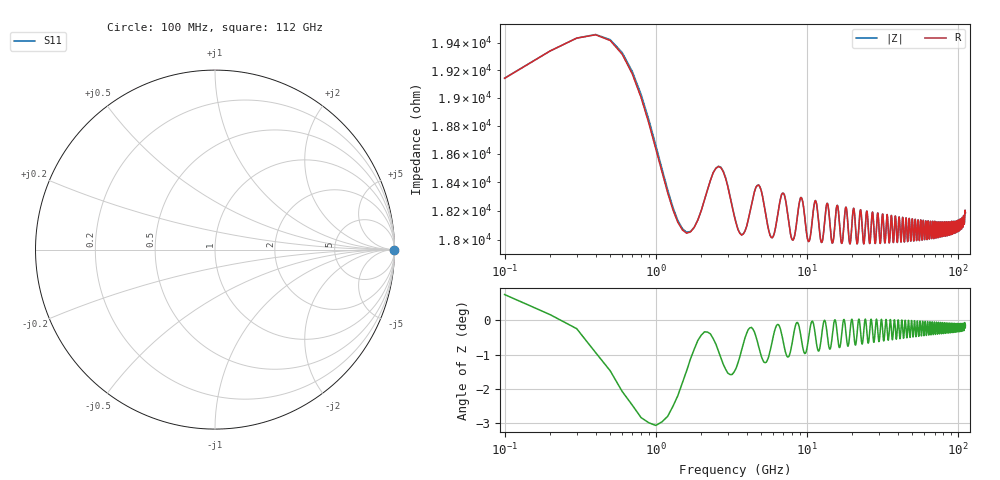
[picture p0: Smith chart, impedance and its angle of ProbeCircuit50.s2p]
! File created by SignalIntegrity v1.3.3: Signal and Power Integrity Tools
! https://github.com/TeledyneLeCroy/SignalIntegrity
# MHz S MA R 50.0
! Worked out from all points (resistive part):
!   1120 points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, 100 MHz to 112 GHz, reference 50 ohm
!   read as one part in series: R = 19.3 kohm at 600 MHz
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100  1 0.0  0.005197 -0.8  0 0.0  0 0.0
600  1 0.0  0.005147 2.1  0 0.0  0 0.0
1700  1 0.0  0.005507 1.1  0 0.0  0 0.0
2600  1 0.0  0.005373 0.9  0 0.0  0 0.0
3700  1 0.0  0.005514 0.9  0 0.0  0 0.0
4800  1 0.0  0.005411 0.8  0 0.0  0 0.0
5900  1 0.0  0.00552 0.6  0 0.0  0 0.0
6900  1 0.0  0.005428 0.5  0 0.0  0 0.0
8100  1 0.0  0.005525 0.5  0 0.0  0 0.0
9200  1 0.0  0.005437 0.5  0 0.0  0 0.0
10300  1 0.0  0.005528 0.5  0 0.0  0 0.0
11400  1 0.0  0.005443 0.5  0 0.0  0 0.0
12500  1 0.0  0.00553 0.5  0 0.0  0 0.0
13600  1 0.0  0.005449 0.4  0 0.0  0 0.0
14700  1 0.0  0.005531 0.5  0 0.0  0 0.0
15900  1 0.0  0.005453 0.4  0 0.0  0 0.0
18800  1 0.0  0.005504 0.7  0 0.0  0 0.0
37400  1 0.0  0.00553 0.3  0 0.0  0 0.0
56100  1 0.0  0.005506 0.0  0 0.0  0 0.0
74700  1 0.0  0.005489 0.1  0 0.0  0 0.0
93400  1 0.0  0.005491 0.3  0 0.0  0 0.0
112000  1 0.0  0.005468 0.1  0 0.0  0 0.0
